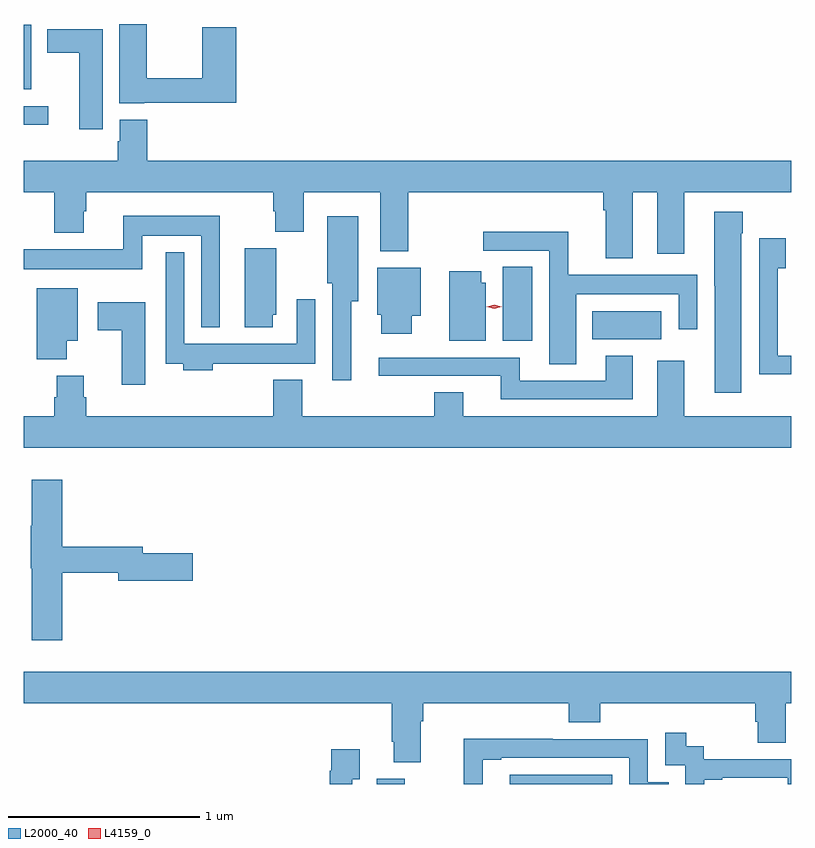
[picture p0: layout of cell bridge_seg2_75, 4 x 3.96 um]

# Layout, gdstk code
import gdstk
lib = gdstk.Library(unit=1e-6, precision=1e-09)
def R(c, l, rs):  # rectangles x0, y0, x1, y1
    for r in rs: c.add(gdstk.rectangle(r[:2], r[2:], *l))
def P(c, l, *ps):  # polygons
    for p in ps: c.add(gdstk.Polygon(p, *l))
L2000_40 = (2000, 40)
L4159_0 = (4159, 0)

bridge_seg2_75 = lib.new_cell('bridge_seg2_75')
R(bridge_seg2_75, L2000_40, [(280.355,617.91,280.502,617.938), (281.049,617.91,281.583,617.958), (281.012,620.222,281.167,620.606), (281.48,620.228,281.839,620.374), (278.516,621.347,278.644,621.444), (278.516,621.533,278.554,621.868)])
P(bridge_seg2_75, L2000_40, [(279.144,621.462),(279.623,621.462),(279.623,621.856),(279.445,621.856),(279.445,621.59),(279.156,621.59),(279.156,621.872),(279.014,621.872),(279.014,621.458),(279.144,621.458)],
  [(278.926,621.844),(278.639,621.844),(278.639,621.722),(278.804,621.722),(278.804,621.324),(278.926,621.324)],
  [(281.689,620.996),(281.819,620.996),(281.819,620.673),(281.959,620.673),(281.959,620.996),(282.516,620.996),(282.516,621.16),(279.158,621.16),(279.158,621.373),(279.017,621.373),(279.017,621.261),(279.005,621.261),(279.005,621.16),(278.516,621.16),(278.516,620.996),(278.675,620.996),(278.675,620.783),(278.827,620.783),(278.827,620.895),(278.84,620.895),(278.84,620.996),(279.815,620.996),(279.815,620.897),(279.827,620.897),(279.827,620.788),(279.975,620.788),(279.975,620.996),(280.373,620.996),(280.373,620.687),(280.521,620.687),(280.521,620.996),(281.537,620.996),(281.537,620.9),(281.549,620.9),(281.549,620.652),(281.689,620.652)],
  [(282.256,620.78),(282.264,620.78),(282.264,620.893),(282.116,620.893),(282.116,620.508),(282.119,620.508),(282.119,619.95),(282.256,619.95)],
  [(279.538,620.872),(279.035,620.872),(279.035,620.698),(278.516,620.698),(278.516,620.594),(279.132,620.594),(279.132,620.768),(279.441,620.768),(279.441,620.291),(279.538,620.291)],
  [(280.222,620.426),(280.258,620.426),(280.258,620.869),(280.097,620.869),(280.097,620.52),(280.125,620.52),(280.125,620.016),(280.222,620.016)],
  [(281.395,620.462),(281.931,620.462),(281.931,620.28),(282.027,620.28),(282.027,620.566),(281.354,620.566),(281.354,620.789),(280.911,620.789),(280.911,620.691),(281.255,620.691),(281.255,620.098),(281.395,620.098)],
  [(282.516,620.142),(282.447,620.142),(282.447,620.599),(282.487,620.599),(282.487,620.755),(282.351,620.755),(282.351,620.045),(282.516,620.045)],
  [(279.814,620.355),(279.832,620.355),(279.832,620.703),(279.668,620.703),(279.668,620.292),(279.814,620.292)],
  [(279.5,620.1),(279.731,620.1),(279.731,620.102),(280.035,620.102),(280.035,620.437),(279.939,620.437),(279.939,620.206),(279.351,620.206),(279.351,620.683),(279.255,620.683),(279.255,620.1),(279.347,620.1),(279.347,620.066),(279.5,620.066)],
  [(280.537,620.351),(280.585,620.351),(280.585,620.602),(280.358,620.602),(280.358,620.355),(280.379,620.355),(280.379,620.258),(280.537,620.258)],
  [(280.924,620.523),(280.9,620.523),(280.9,620.584),(280.733,620.584),(280.733,620.222),(280.924,620.222)],
  [(278.74,620.222),(278.797,620.222),(278.797,620.494),(278.582,620.494),(278.582,620.123),(278.74,620.123)],
  [(279.148,620.422),(278.901,620.422),(278.901,620.275),(279.026,620.275),(279.026,619.992),(279.148,619.992)],
  [(281.689,620.143),(281.549,620.143),(281.549,620.013),(281.101,620.013),(281.101,620.133),(280.365,620.133),(280.365,620.037),(281.003,620.037),(281.003,619.917),(281.689,619.917)],
  [(282.516,619.828),(281.959,619.828),(281.959,620.116),(281.819,620.116),(281.819,619.828),(280.807,619.828),(280.807,619.952),(280.655,619.952),(280.655,619.828),(279.967,619.828),(279.967,620.017),(279.815,620.017),(279.815,619.828),(278.84,619.828),(278.84,619.926),(278.827,619.926),(278.827,620.038),(278.687,620.038),(278.687,619.926),(278.675,619.926),(278.675,619.828),(278.516,619.828),(278.516,619.664),(282.516,619.664)],
  [(278.717,619.012),(279.008,619.012),(279.008,618.97),(279.397,618.97),(279.397,619.112),(279.136,619.112),(279.136,619.148),(278.717,619.148),(278.717,619.495),(278.558,619.495),(278.558,619.256),(278.551,619.256),(278.551,619.035),(278.558,619.035),(278.558,618.66),(278.717,618.66)],
  [(280.585,618.236),(280.598,618.236),(280.598,618.332),(281.357,618.332),(281.357,618.233),(281.522,618.233),(281.522,618.332),(282.329,618.332),(282.329,618.234),(282.341,618.234),(282.341,618.124),(282.489,618.124),(282.489,618.332),(282.516,618.332),(282.516,618.496),(278.516,618.496),(278.516,618.332),(280.433,618.332),(280.433,618.13),(280.445,618.13),(280.445,618.023),(280.585,618.023)],
  [(282.062,617.931),(282.157,617.931),(282.157,617.943),(282.498,617.943),(282.498,617.91),(282.516,617.91),(282.516,618.039),(282.06,618.039),(282.06,618.108),(281.968,618.108),(281.968,618.178),(281.859,618.178),(281.859,618.009),(281.964,618.009),(281.964,617.91),(282.062,617.91)],
  [(280.908,618.036),(281.005,618.036),(281.005,618.048),(281.673,618.048),(281.673,617.91),(281.879,617.91),(281.879,617.919),(281.769,617.919),(281.769,618.144),(281.273,618.144),(281.273,618.146),(280.81,618.146),(280.81,617.91),(280.908,617.91)],
  [(280.227,617.935),(280.267,617.935),(280.267,618.091),(280.119,618.091),(280.119,617.978),(280.111,617.978),(280.111,617.91),(280.227,617.91)])
P(bridge_seg2_75, L4159_0, [(280.968,620.388),(280.929,620.398),(280.929,620.398),(280.929,620.398),(280.968,620.408),(281.008,620.398),(281.008,620.398),(281.008,620.398)])

lib.write_gds('bridge_seg2_75.gds')
